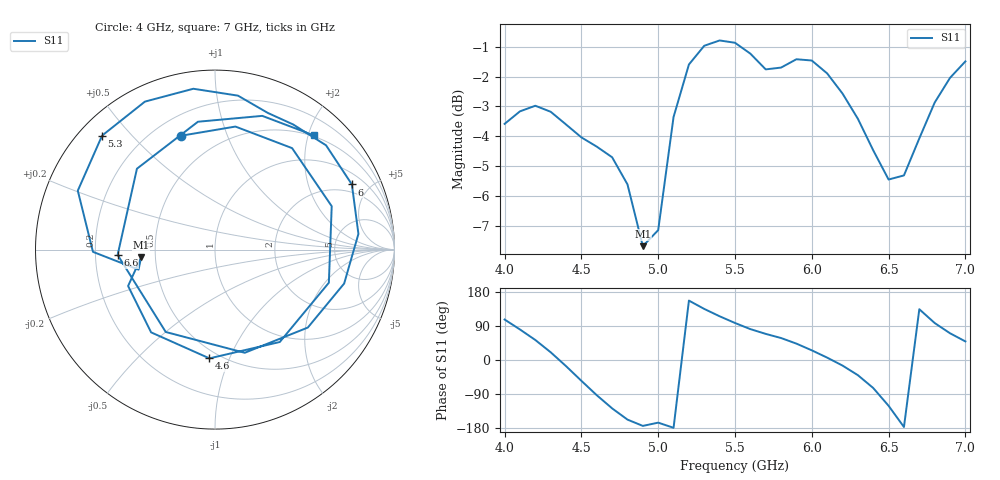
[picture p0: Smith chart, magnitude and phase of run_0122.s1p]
! Touchstone file exported from HFSS 2024.2.0
!  File:  C:/Users/wsak9/Desktop/Sim Fast/Widenad Patch/WP_AI_V1_sweep.aedt
!  Generated:  08:00:11 PM Oct 13, 2026
!  Design:  A1_model
!  Project:  WP_AI_V1_sweep
!  Setup:  Setup1
!  Solution:  Sweep
! Variables:
!  Air_gap = 1.92mm
!  Curve_Amp1 = 3.11
!  Curve_len1 = 1
!  Curve_pos = 13.405mm
!  Extra = 4.73mm
!  H_sub = 0.79mm
!  L_Patch = 22.81mm
!  L_Patch1 = 20.27mm
!  Sx = 1.26mm
!  Sy = 0.52mm
!  WS = 1.07mm
!  W_Patch = 18.6mm
!  W_Patch1 = 15.54mm
!Data is not renormalized
# GHz S MA
! Terminal data exported
! Port[1] = 1
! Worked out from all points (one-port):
!   31 points, 4 GHz to 7 GHz, reference per port
!   lowest |S11| = -7.7 dB at 4.9 GHz (marker M1), VSWR 2.41
!   |S11| at or under -10 dB: nowhere
!   S11 on the Smith chart (normalised r, x): 4 GHz: 0.31, +0.70; 4.6 GHz: 0.44, -0.85; 5.3 GHz: 0.07, +0.42; 6 GHz: 1.52, +3.86; 6.6 GHz: 0.30, -0.02; 7 GHz: 0.48, +2.10
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4  0.6623 106.8
4.1  0.6949 80.6
4.2  0.71 52.8
4.3  0.6938 20.4
4.4  0.6606 -16.2
4.5  0.6287 -55.0
4.6  0.6068 -92.9
4.7  0.5825 -127.7
4.8  0.5249 -157.3
4.9  0.414 -173.9
5  0.4404 -165.3
5.1  0.68 -178.9
5.2  0.8319 156.8
5.3  0.8939 134.7
5.4  0.9123 115.3
5.5  0.9042 97.7
5.6  0.8673 81.5
5.9  0.8488 43.2
6  0.8446 25.5
6.2  0.744 -14.7
6.3  0.6753 -40.0
6.4  0.5983 -73.9
6.5  0.5348 -120.9
6.6  0.5433 -176.9
6.7  0.6264 134.0
6.8  0.7187 97.6
6.9  0.7903 70.5
7  0.8419 49.1
